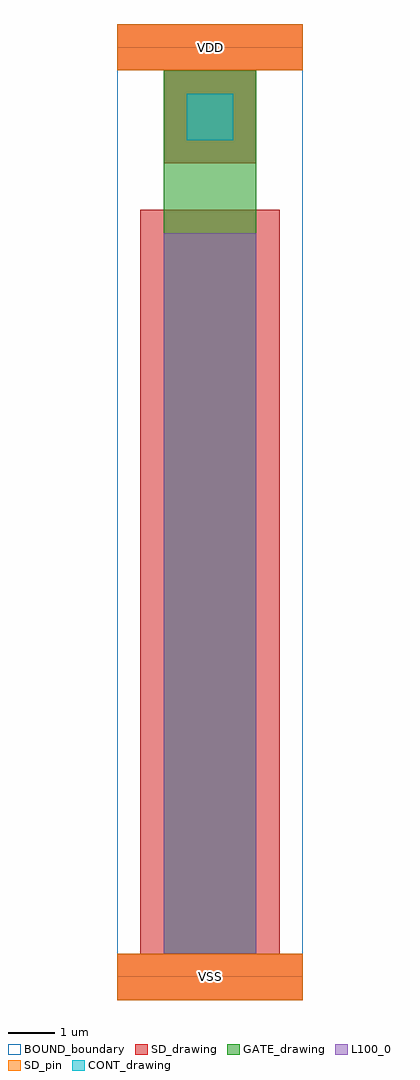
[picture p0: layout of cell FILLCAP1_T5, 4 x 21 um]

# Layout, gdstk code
import gdstk
lib = gdstk.Library(unit=1e-6, precision=1e-09)
def R(c, l, rs):  # rectangles x0, y0, x1, y1
    for r in rs: c.add(gdstk.rectangle(r[:2], r[2:], *l))
SD_drawing = (10, 0)
SD_pin = (10, 3)
GATE_drawing = (11, 0)
CONT_drawing = (30, 0)
L100_0 = (100, 0)
BOUND_boundary = (150, 5)

cap_cdns_772544890160 = lib.new_cell('cap_CDNS_772544890160')
R(cap_cdns_772544890160, SD_drawing, [(-1.5,-8.25,1.5,8.25)])
R(cap_cdns_772544890160, GATE_drawing, [(-1,-7.75,1,7.75)])
R(cap_cdns_772544890160, L100_0, [(-1,-7.75,1,7.75)])

sd_gate_cdns_77254489016 = lib.new_cell('SD_GATE_CDNS_772544890160')
R(sd_gate_cdns_77254489016, SD_drawing, [(-1,-1,1,1)])
R(sd_gate_cdns_77254489016, GATE_drawing, [(-1,-1,1,1)])
R(sd_gate_cdns_77254489016, CONT_drawing, [(-0.5,-0.5,0.5,0.5)])

fillcap1_t5 = lib.new_cell('FILLCAP1_T5')
R(fillcap1_t5, SD_pin, [(0,-0.5,4,0.5), (0,19.5,4,20.5)])
R(fillcap1_t5, GATE_drawing, [(1,16,3,17.5)])
R(fillcap1_t5, BOUND_boundary, [(0,0,4,20)])
fillcap1_t5.add(gdstk.FlexPath([(4,0),(0,0)], 1, ends="flush", simple_path=True, layer=10, datatype=0))  # SD_drawing
fillcap1_t5.add(gdstk.FlexPath([(0,20),(4,20)], 1, ends="flush", simple_path=True, layer=10, datatype=0))  # SD_drawing
fillcap1_t5.add(gdstk.Reference(cap_cdns_772544890160, (2,8.25)))
fillcap1_t5.add(gdstk.Reference(sd_gate_cdns_77254489016, (2,18.5)))
fillcap1_t5.add(gdstk.Label('VDD', (2,20), layer=10, texttype=3))
fillcap1_t5.add(gdstk.Label('VSS', (2,0), layer=10, texttype=3))

lib.write_gds('FILLCAP1_T5.gds')
